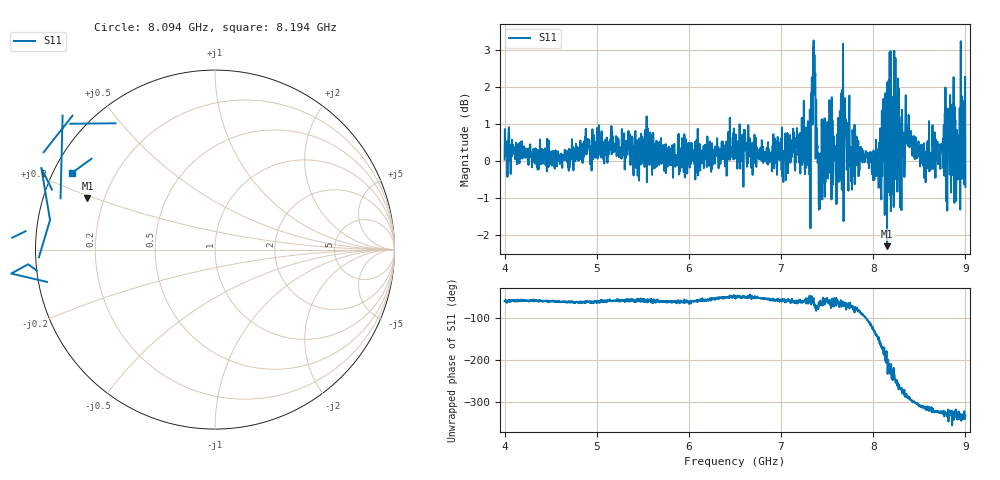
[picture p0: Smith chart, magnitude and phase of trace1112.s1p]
! Created with skrf 1.8.0 (http://scikit-rf.org).
# Hz S RI R 50.0
!freq ReS11 ImS11
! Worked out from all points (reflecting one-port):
!   1601 points, 4 GHz to 9 GHz, reference 50 ohm
!   lowest |S11| = -2.3 dB at 8.15 GHz (marker M1), VSWR 7.55, Z = 6.87 + j9.49 ohm
!   phase of S11 starts at -59 deg and turns -272 deg over the sweep
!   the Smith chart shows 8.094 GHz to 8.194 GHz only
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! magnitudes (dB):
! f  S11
! 4 GHz  0.0
! 4.625 GHz  -0.2
! 5.25 GHz  0.2
! 5.875 GHz  0.0
! 6.5 GHz  0.2
! 7.125 GHz  0.3
! 7.297 GHz  0.4
! 7.347 GHz  3.1
! 7.372 GHz  2.4
! 7.4 GHz  0.0
! 7.422 GHz  -1.3
! 7.525 GHz  1.6
! 7.609 GHz  0.7
! 7.669 GHz  0.8
! 7.75 GHz  -0.2
! 8.066 GHz  0.0
! 8.097 GHz  -0.4
! 8.15 GHz  -2.3
! 8.178 GHz  2.9
! 8.209 GHz  0.1
! 8.253 GHz  0.1
! 8.316 GHz  0.8
! 8.375 GHz  0.4
! 8.556 GHz  -0.5
! 8.8 GHz  -0.2
! 8.919 GHz  -0.5
! 8.972 GHz  1.1
! 9 GHz  -0.7
